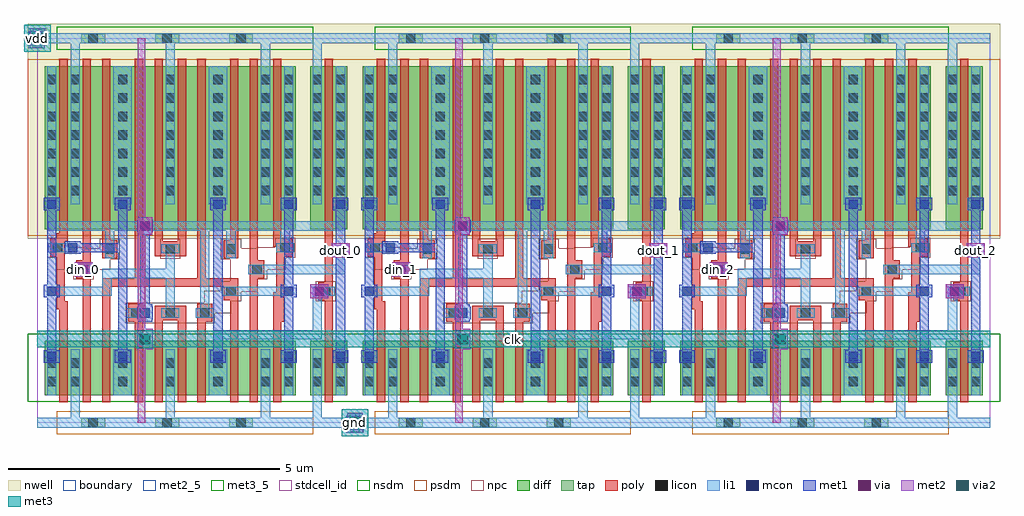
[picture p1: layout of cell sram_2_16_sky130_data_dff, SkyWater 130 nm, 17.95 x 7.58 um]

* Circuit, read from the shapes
.subckt sram_2_16_sky130_data_dff clk din_0 din_1 din_2 dout_0 dout_1 dout_2 gnd vdd
XM1 gnd n1 n2 gnd sky130_fd_pr__nfet_01v8 w=1 l=0.15
XM2 n3 din_0 gnd gnd sky130_fd_pr__nfet_01v8 w=1 l=0.15
XM3 n1 n4 n3 gnd sky130_fd_pr__nfet_01v8 w=1 l=0.15
XM4 n5 clk n1 gnd sky130_fd_pr__nfet_01v8 w=1 l=0.15
XM5 gnd n2 n5 gnd sky130_fd_pr__nfet_01v8 w=1 l=0.15
XM6 n6 n2 gnd gnd sky130_fd_pr__nfet_01v8 w=1 l=0.15
XM7 sky130_fd_bd_sram__openram_dff_0/QN clk n6 gnd sky130_fd_pr__nfet_01v8 w=1 l=0.15
XM8 n7 n4 sky130_fd_bd_sram__openram_dff_0/QN gnd sky130_fd_pr__nfet_01v8 w=1 l=0.15
XM9 gnd dout_0 n7 gnd sky130_fd_pr__nfet_01v8 w=1 l=0.15
XM10 n4 clk gnd gnd sky130_fd_pr__nfet_01v8 w=1 l=0.15
XM11 dout_0 sky130_fd_bd_sram__openram_dff_0/QN gnd gnd sky130_fd_pr__nfet_01v8 w=1 l=0.15
XM12 gnd n8 n9 gnd sky130_fd_pr__nfet_01v8 w=1 l=0.15
XM13 n10 din_1 gnd gnd sky130_fd_pr__nfet_01v8 w=1 l=0.15
XM14 n8 n11 n10 gnd sky130_fd_pr__nfet_01v8 w=1 l=0.15
XM15 n12 clk n8 gnd sky130_fd_pr__nfet_01v8 w=1 l=0.15
XM16 gnd n9 n12 gnd sky130_fd_pr__nfet_01v8 w=1 l=0.15
XM17 n13 n9 gnd gnd sky130_fd_pr__nfet_01v8 w=1 l=0.15
XM18 sky130_fd_bd_sram__openram_dff_1/QN clk n13 gnd sky130_fd_pr__nfet_01v8 w=1 l=0.15
XM19 n14 n11 sky130_fd_bd_sram__openram_dff_1/QN gnd sky130_fd_pr__nfet_01v8 w=1 l=0.15
XM20 gnd dout_1 n14 gnd sky130_fd_pr__nfet_01v8 w=1 l=0.15
XM21 n11 clk gnd gnd sky130_fd_pr__nfet_01v8 w=1 l=0.15
XM22 dout_1 sky130_fd_bd_sram__openram_dff_1/QN gnd gnd sky130_fd_pr__nfet_01v8 w=1 l=0.15
XM23 gnd n15 n16 gnd sky130_fd_pr__nfet_01v8 w=1 l=0.15
XM24 n17 din_2 gnd gnd sky130_fd_pr__nfet_01v8 w=1 l=0.15
XM25 n15 n18 n17 gnd sky130_fd_pr__nfet_01v8 w=1 l=0.15
XM26 n19 clk n15 gnd sky130_fd_pr__nfet_01v8 w=1 l=0.15
XM27 gnd n16 n19 gnd sky130_fd_pr__nfet_01v8 w=1 l=0.15
XM28 n20 n16 gnd gnd sky130_fd_pr__nfet_01v8 w=1 l=0.15
XM29 sky130_fd_bd_sram__openram_dff_2/QN clk n20 gnd sky130_fd_pr__nfet_01v8 w=1 l=0.15
XM30 n21 n18 sky130_fd_bd_sram__openram_dff_2/QN gnd sky130_fd_pr__nfet_01v8 w=1 l=0.15
XM31 gnd dout_2 n21 gnd sky130_fd_pr__nfet_01v8 w=1 l=0.15
XM32 n18 clk gnd gnd sky130_fd_pr__nfet_01v8 w=1 l=0.15
XM33 dout_2 sky130_fd_bd_sram__openram_dff_2/QN gnd gnd sky130_fd_pr__nfet_01v8 w=1 l=0.15
XM34 vdd n1 n2 vdd sky130_fd_pr__pfet_01v8 w=3 l=0.15
XM35 n22 din_0 vdd vdd sky130_fd_pr__pfet_01v8 w=3 l=0.15
XM36 n1 clk n22 vdd sky130_fd_pr__pfet_01v8 w=3 l=0.15
XM37 n23 n4 n1 vdd sky130_fd_pr__pfet_01v8 w=3 l=0.15
XM38 vdd n2 n23 vdd sky130_fd_pr__pfet_01v8 w=3 l=0.15
XM39 n24 n2 vdd vdd sky130_fd_pr__pfet_01v8 w=3 l=0.15
XM40 sky130_fd_bd_sram__openram_dff_0/QN n4 n24 vdd sky130_fd_pr__pfet_01v8 w=3 l=0.15
XM41 n25 clk sky130_fd_bd_sram__openram_dff_0/QN vdd sky130_fd_pr__pfet_01v8 w=3 l=0.15
XM42 vdd dout_0 n25 vdd sky130_fd_pr__pfet_01v8 w=3 l=0.15
XM43 n4 clk vdd vdd sky130_fd_pr__pfet_01v8 w=3 l=0.15
XM44 dout_0 sky130_fd_bd_sram__openram_dff_0/QN vdd vdd sky130_fd_pr__pfet_01v8 w=3 l=0.15
XM45 vdd n8 n9 vdd sky130_fd_pr__pfet_01v8 w=3 l=0.15
XM46 n26 din_1 vdd vdd sky130_fd_pr__pfet_01v8 w=3 l=0.15
XM47 n8 clk n26 vdd sky130_fd_pr__pfet_01v8 w=3 l=0.15
XM48 n27 n11 n8 vdd sky130_fd_pr__pfet_01v8 w=3 l=0.15
XM49 vdd n9 n27 vdd sky130_fd_pr__pfet_01v8 w=3 l=0.15
XM50 n28 n9 vdd vdd sky130_fd_pr__pfet_01v8 w=3 l=0.15
XM51 sky130_fd_bd_sram__openram_dff_1/QN n11 n28 vdd sky130_fd_pr__pfet_01v8 w=3 l=0.15
XM52 n29 clk sky130_fd_bd_sram__openram_dff_1/QN vdd sky130_fd_pr__pfet_01v8 w=3 l=0.15
XM53 vdd dout_1 n29 vdd sky130_fd_pr__pfet_01v8 w=3 l=0.15
XM54 n11 clk vdd vdd sky130_fd_pr__pfet_01v8 w=3 l=0.15
XM55 dout_1 sky130_fd_bd_sram__openram_dff_1/QN vdd vdd sky130_fd_pr__pfet_01v8 w=3 l=0.15
XM56 vdd n15 n16 vdd sky130_fd_pr__pfet_01v8 w=3 l=0.15
XM57 n30 din_2 vdd vdd sky130_fd_pr__pfet_01v8 w=3 l=0.15
XM58 n15 clk n30 vdd sky130_fd_pr__pfet_01v8 w=3 l=0.15
XM59 n31 n18 n15 vdd sky130_fd_pr__pfet_01v8 w=3 l=0.15
XM60 vdd n16 n31 vdd sky130_fd_pr__pfet_01v8 w=3 l=0.15
XM61 n32 n16 vdd vdd sky130_fd_pr__pfet_01v8 w=3 l=0.15
XM62 sky130_fd_bd_sram__openram_dff_2/QN n18 n32 vdd sky130_fd_pr__pfet_01v8 w=3 l=0.15
XM63 n33 clk sky130_fd_bd_sram__openram_dff_2/QN vdd sky130_fd_pr__pfet_01v8 w=3 l=0.15
XM64 vdd dout_2 n33 vdd sky130_fd_pr__pfet_01v8 w=3 l=0.15
XM65 n18 clk vdd vdd sky130_fd_pr__pfet_01v8 w=3 l=0.15
XM66 dout_2 sky130_fd_bd_sram__openram_dff_2/QN vdd vdd sky130_fd_pr__pfet_01v8 w=3 l=0.15
.ends

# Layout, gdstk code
import gdstk
lib = gdstk.Library(unit=1e-6, precision=1e-09)
def R(c, l, rs):  # rectangles x0, y0, x1, y1
    for r in rs: c.add(gdstk.rectangle(r[:2], r[2:], *l))
def A(c, l, x, y, w, h, nx, ny, dx, dy):  # array of equal rectangles
    R(c, l, [(x+i*dx, y+j*dy, x+i*dx+w, y+j*dy+h) for i in range(nx) for j in range(ny)])
nwell = (64, 20)
diff = (65, 20)
tap = (65, 44)
poly = (66, 20)
licon = (66, 44)
li1 = (67, 20)
mcon = (67, 44)
met1 = (68, 20)
via = (68, 44)
met2_5 = (69, 5)
met2 = (69, 20)
via2 = (69, 44)
met3_5 = (70, 5)
met3 = (70, 20)
stdcell_id = (81, 4)
nsdm = (93, 44)
psdm = (94, 20)
npc = (95, 20)
boundary = (235, 4)

sky130_fd_bd_sram__openr = lib.new_cell('sky130_fd_bd_sram__openram_dff')
R(sky130_fd_bd_sram__openr, nwell, [(-0.18,3.38,6.02,7.335)])
R(sky130_fd_bd_sram__openr, diff, [(0.14,0.51,4.75,1.51), (5.02,0.51,5.7,1.51), (0.14,3.56,4.75,6.56), (5.02,3.56,5.7,6.56)])
A(sky130_fd_bd_sram__openr, tap, 0.805, -0.085, 0.44, 0.17, 3, 2, 1.36, 7.07)
R(sky130_fd_bd_sram__openr, poly, [(0.405,0.38,0.555,2.085), (0.835,0.38,0.985,2.655), (1.195,0.38,1.345,2.505), (1.795,0.38,1.945,1.855), (2.155,0.38,2.305,1.885), (2.585,0.38,2.735,1.885), (2.945,0.38,3.095,1.855), (3.545,0.38,3.695,2.255), (3.905,0.38,4.055,2.655), (4.335,0.38,4.485,1.855), (5.285,0.38,5.435,2.255), (1.675,1.855,1.945,2.185), (2.945,1.855,3.215,2.185), (4.335,1.855,4.54,2.405), (2.155,1.885,2.735,2.155), (0.355,2.085,0.555,2.235), (0.355,2.235,0.505,3.055), (3.425,2.255,3.695,2.505), (5.165,2.255,5.435,2.585), (4.39,2.405,4.54,3.055), (1.195,2.505,3.695,2.655), (5.285,2.585,5.435,6.69), (0.715,2.655,0.985,2.985), (1.795,2.655,1.945,6.69), (2.945,2.655,3.095,6.69), (3.905,2.655,4.175,2.985), (0.835,2.985,0.985,6.69), (3.905,2.985,4.055,6.69), (1.195,3.03,1.465,3.36), (3.425,3.03,3.695,3.36), (0.235,3.055,0.505,3.335), (4.39,3.055,4.69,3.235), (2.155,3.065,2.735,3.335), (4.335,3.235,4.69,3.385), (0.235,3.335,0.555,3.385), (2.155,3.335,2.305,6.69), (2.585,3.335,2.735,6.69), (1.195,3.36,1.345,6.69), (3.545,3.36,3.695,6.69), (0.35,3.385,0.555,3.485), (4.335,3.385,4.485,6.69), (0.405,3.485,0.555,6.69)])
A(sky130_fd_bd_sram__openr, licon, 0.94, -0.085, 0.17, 0.17, 3, 2, 1.36, 7.07)
A(sky130_fd_bd_sram__openr, licon, 0.61, 0.675, 0.17, 0.17, 5, 2, 0.875, 0.34)
A(sky130_fd_bd_sram__openr, licon, 1.725, 1.935, 0.17, 0.17, 3, 1, 0.635, 0)
A(sky130_fd_bd_sram__openr, licon, 0.18, 4.185, 0.17, 0.17, 1, 7, 0, 0.34)
A(sky130_fd_bd_sram__openr, licon, 0.61, 4.185, 0.17, 0.17, 5, 7, 0.875, 0.34)
A(sky130_fd_bd_sram__openr, licon, 4.54, 4.185, 0.17, 0.17, 1, 7, 0, 0.34)
A(sky130_fd_bd_sram__openr, licon, 5.06, 4.185, 0.17, 0.17, 1, 7, 0, 0.34)
A(sky130_fd_bd_sram__openr, licon, 5.49, 4.185, 0.17, 0.17, 1, 7, 0, 0.34)
R(sky130_fd_bd_sram__openr, licon, [(0.18,0.675,0.35,0.845), (4.54,0.675,4.71,0.845), (5.06,0.675,5.23,0.845), (5.49,0.675,5.66,0.845), (0.18,1.015,0.35,1.185), (4.54,1.015,4.71,1.185), (5.06,1.015,5.23,1.185), (5.49,1.015,5.66,1.185), (3.475,2.335,3.645,2.505), (5.215,2.335,5.385,2.505), (0.765,2.735,0.935,2.905), (3.955,2.735,4.125,2.905), (1.245,3.11,1.415,3.28), (3.475,3.11,3.645,3.28), (2.36,3.115,2.53,3.285), (0.285,3.135,0.455,3.305), (4.47,3.135,4.64,3.305)])
A(sky130_fd_bd_sram__openr, li1, 0.61, 0.09, 0.17, 1.26, 3, 1, 1.75, 0)
A(sky130_fd_bd_sram__openr, li1, 0.61, 4.02, 0.17, 2.96, 3, 1, 1.75, 0)
R(sky130_fd_bd_sram__openr, li1, [(0,-0.09,5.84,0.09), (0,-0.09,5.84,0.09), (5.06,0.09,5.23,1.35), (0.18,0.51,0.35,1.35), (1.4,0.51,1.74,1.35), (3.15,0.51,3.49,1.35), (4.54,0.51,4.71,1.355), (5.49,0.51,5.66,1.355), (3.235,1.35,3.405,1.535), (3.235,1.535,5.23,1.705), (5.06,1.705,5.23,2.335), (1.64,1.935,2.065,2.105), (2.28,1.935,2.61,2.105), (2.915,1.935,3.245,2.105), (2.36,2.105,2.53,2.66), (2.995,2.105,3.165,3.535), (0.18,2.335,1.365,2.505), (3.395,2.335,4.71,2.505), (5.06,2.335,5.465,2.505), (1.195,2.505,1.365,2.66), (1.195,2.66,2.53,2.83), (0.685,2.735,1.015,2.905), (3.875,2.735,5.66,2.905), (2.36,2.83,2.53,3.115), (5.49,2.905,5.66,3.26), (1.245,3.03,1.415,3.535), (3.475,3.03,3.645,3.535), (2.28,3.115,2.61,3.285), (0.205,3.135,0.735,3.305), (4.39,3.135,4.72,3.305), (4.47,3.305,4.64,3.535), (0.205,3.535,5.66,3.705), (0.18,3.935,0.35,6.56), (1.485,3.935,1.655,4.02), (3.235,3.935,3.405,4.02), (4.54,3.935,4.71,6.56), (5.49,3.935,5.66,6.56), (1.4,4.02,1.74,6.56), (3.15,4.02,3.49,6.56), (5.06,4.02,5.23,6.98), (0,6.98,5.84,7.16), (0,6.98,5.84,7.16), (0,6.98,5.84,7.16)])
R(sky130_fd_bd_sram__openr, mcon, [(0.18,1.135,0.35,1.305), (1.485,1.135,1.655,1.305), (3.235,1.135,3.405,1.305), (4.54,1.135,4.71,1.305), (5.49,1.135,5.66,1.305), (1.895,1.935,2.065,2.105), (0.18,2.335,0.35,2.505), (4.54,2.335,4.71,2.505), (5.1,2.335,5.27,2.505), (0.765,2.735,0.935,2.905), (5.49,3.09,5.66,3.26), (0.565,3.135,0.735,3.305), (1.895,3.535,2.065,3.705), (0.18,3.935,0.35,4.105), (1.485,3.935,1.655,4.105), (3.235,3.935,3.405,4.105), (4.54,3.935,4.71,4.105), (5.49,3.935,5.66,4.105)])
R(sky130_fd_bd_sram__openr, met1, [(0.12,1.105,0.41,1.335), (1.425,1.105,1.715,1.335), (3.175,1.105,3.465,1.335), (4.48,1.105,4.77,1.335), (5.43,1.105,5.72,1.335), (0.18,1.335,0.35,2.305), (1.485,1.335,1.655,3.135), (3.235,1.335,3.405,3.905), (4.54,1.335,4.71,2.305), (5.49,1.335,5.66,3.045), (1.845,1.86,2.115,1.905), (1.835,1.905,2.125,2.135), (1.845,2.135,2.115,2.18), (1.895,2.18,2.065,3.46), (5.02,2.29,5.35,2.55), (0.12,2.305,0.41,2.535), (4.48,2.305,4.77,2.535), (0.18,2.535,0.35,3.905), (4.54,2.535,4.71,3.905), (0.685,2.69,1.015,2.95), (5.41,3.045,5.74,3.305), (0.505,3.105,0.795,3.135), (0.505,3.135,1.655,3.305), (0.505,3.305,0.795,3.335), (1.485,3.305,1.655,3.905), (5.49,3.305,5.66,3.905), (1.845,3.46,2.115,3.505), (1.835,3.505,2.125,3.735), (1.845,3.735,2.115,3.78), (0.12,3.905,0.41,4.135), (1.425,3.905,1.715,4.135), (3.175,3.905,3.465,4.135), (4.48,3.905,4.77,4.135), (5.43,3.905,5.72,4.135)])
R(sky130_fd_bd_sram__openr, via, [(5.11,2.345,5.26,2.495), (0.775,2.745,0.925,2.895), (5.5,3.1,5.65,3.25), (1.905,3.545,2.055,3.695)])
R(sky130_fd_bd_sram__openr, met2_5, [(0.685,2.69,1.015,2.95), (5.41,3.045,5.74,3.305), (1.845,3.46,2.115,3.78)])
R(sky130_fd_bd_sram__openr, met2, [(5.02,2.29,5.35,2.55), (0.685,2.69,1.015,2.95), (0.685,2.69,1.015,2.95), (0.685,2.69,1.015,2.95), (5.41,3.045,5.74,3.305), (5.41,3.045,5.74,3.305), (5.41,3.045,5.74,3.305), (1.845,3.46,2.115,3.78), (1.845,3.46,2.115,3.78), (1.845,3.46,2.115,3.78)])
R(sky130_fd_bd_sram__openr, stdcell_id, [(0,0,5.84,7.07)])
R(sky130_fd_bd_sram__openr, nsdm, [(-0.18,0.385,6.02,1.635), (0.36,6.86,5.075,7.07), (0.36,7.07,5.075,7.28)])
R(sky130_fd_bd_sram__openr, psdm, [(0.36,-0.21,5.075,0), (0.36,0,5.075,0.21), (-0.18,3.435,6.02,6.685)])
R(sky130_fd_bd_sram__openr, npc, [(1.625,1.835,3.265,2.01), (1.625,2.01,3.57,2.205), (3.07,2.205,3.57,2.235), (3.07,2.235,3.745,2.41), (5.115,2.235,5.485,2.605), (3.07,2.41,4.05,2.43), (3.375,2.43,4.05,2.605), (3.55,2.605,4.05,2.635), (0.665,2.635,1.035,2.81), (3.55,2.635,4.225,2.81), (0.36,2.81,1.34,3.01), (3.55,2.81,4.565,3.01), (0.36,3.01,1.515,3.035), (3.375,3.01,4.565,3.035), (2.26,3.015,2.63,3.385), (0.185,3.035,1.515,3.205), (3.375,3.035,4.74,3.205), (0.185,3.205,0.86,3.23), (1.145,3.205,1.515,3.38), (3.375,3.205,3.745,3.38), (4.03,3.205,4.74,3.23), (0.185,3.23,0.555,3.405), (4.37,3.23,4.74,3.405)])
R(sky130_fd_bd_sram__openr, boundary, [(0,0,5.84,7.07)])
sky130_fd_bd_sram__openr.add(gdstk.Label('QN', (5.035,2.52), layer=69, texttype=5))
sky130_fd_bd_sram__openr.add(gdstk.Label('CLK', (1.98,3.62), layer=69, texttype=5))
sky130_fd_bd_sram__openr.add(gdstk.Label('D', (0.85,2.82), layer=69, texttype=5))
sky130_fd_bd_sram__openr.add(gdstk.Label('Q', (5.575,3.175), layer=69, texttype=5))
sky130_fd_bd_sram__openr.add(gdstk.Label('VDD', (2.74,7.08), layer=67, texttype=5))
sky130_fd_bd_sram__openr.add(gdstk.Label('GND', (2.72,0), layer=67, texttype=5))
sky130_fd_bd_sram__openr.add(gdstk.Label('D', (0.85,2.82), layer=69, texttype=5))
sky130_fd_bd_sram__openr.add(gdstk.Label('Q', (5.575,3.175), layer=69, texttype=5))
sky130_fd_bd_sram__openr.add(gdstk.Label('clk', (1.98,3.62), layer=69, texttype=5))
sky130_fd_bd_sram__openr.add(gdstk.Label('vdd', (2.92,7.07), layer=67, texttype=5))
sky130_fd_bd_sram__openr.add(gdstk.Label('gnd', (2.92,0), layer=67, texttype=5))

sram_2_16_sky130_contact = lib.new_cell('sram_2_16_sky130_contact_13')
R(sram_2_16_sky130_contact, li1, [(0.06,0,0.23,0.33)])
R(sram_2_16_sky130_contact, mcon, [(0.06,0.08,0.23,0.25)])
R(sram_2_16_sky130_contact, met1, [(0,0.05,0.29,0.28)])
R(sram_2_16_sky130_contact, stdcell_id, [(0,0,0.29,0.33)])
R(sram_2_16_sky130_contact, boundary, [(0,0,0.29,0.33)])

c_sram_2_16_sky130_contact = lib.new_cell('sram_2_16_sky130_contact_7')
R(c_sram_2_16_sky130_contact, met1, [(0,0.03,0.32,0.29)])
R(c_sram_2_16_sky130_contact, via, [(0.085,0.085,0.235,0.235)])
R(c_sram_2_16_sky130_contact, met2, [(0.03,0,0.29,0.32)])
R(c_sram_2_16_sky130_contact, stdcell_id, [(0,0,0.32,0.32)])
R(c_sram_2_16_sky130_contact, boundary, [(0,0,0.32,0.32)])

c_sram_2_16_sky130_contact_ = lib.new_cell('sram_2_16_sky130_contact_8')
R(c_sram_2_16_sky130_contact_, met2, [(0.025,0,0.305,0.37)])
R(c_sram_2_16_sky130_contact_, via2, [(0.065,0.085,0.265,0.285)])
R(c_sram_2_16_sky130_contact_, met3, [(0,0.02,0.33,0.35)])
R(c_sram_2_16_sky130_contact_, stdcell_id, [(0,0,0.33,0.37)])
R(c_sram_2_16_sky130_contact_, boundary, [(0,0,0.33,0.37)])

sram_2_16_sky130_data_df = lib.new_cell('sram_2_16_sky130_data_dff')
R(sram_2_16_sky130_data_df, met1, [(5.68,-0.13,6,0.13), (-0.16,6.94,0.16,7.2)])
A(sram_2_16_sky130_data_df, met2_5, 0.685, 2.69, 0.33, 0.26, 3, 1, 5.84, 0)
A(sram_2_16_sky130_data_df, met2_5, 5.41, 3.045, 0.33, 0.26, 3, 1, 5.84, 0)
A(sram_2_16_sky130_data_df, met2, 1.845, 0, 0.14, 7.07, 3, 1, 5.84, 0)
A(sram_2_16_sky130_data_df, met2, 1.84, 1.42, 0.28, 0.24, 3, 1, 5.84, 0)
A(sram_2_16_sky130_data_df, met2, 0.685, 2.69, 0.33, 0.26, 3, 1, 5.84, 0)
A(sram_2_16_sky130_data_df, met2, 5.41, 3.045, 0.33, 0.26, 3, 1, 5.84, 0)
R(sram_2_16_sky130_data_df, met2, [(5.7,-0.12,5.98,0.12), (-0.14,6.95,0.14,7.19)])
R(sram_2_16_sky130_data_df, met3_5, [(5.595,-0.245,6.085,0.245), (0,1.39,17.52,1.69), (-0.245,6.825,0.245,7.315)])
R(sram_2_16_sky130_data_df, met3, [(5.595,-0.245,6.085,0.245), (0,1.39,17.52,1.69), (-0.245,6.825,0.245,7.315)])
R(sram_2_16_sky130_data_df, stdcell_id, [(0,0,17.52,7.07)])
R(sram_2_16_sky130_data_df, boundary, [(0,0,17.52,7.07)])
sram_2_16_sky130_data_df.add(gdstk.Reference(sky130_fd_bd_sram__openr, (0,0)))
sram_2_16_sky130_data_df.add(gdstk.Reference(sky130_fd_bd_sram__openr, (5.84,0)))
sram_2_16_sky130_data_df.add(gdstk.Reference(sky130_fd_bd_sram__openr, (11.68,0)))
sram_2_16_sky130_data_df.add(gdstk.Reference(sram_2_16_sky130_contact, (-0.145,6.905)))
sram_2_16_sky130_data_df.add(gdstk.Reference(c_sram_2_16_sky130_contact, (-0.16,6.91)))
sram_2_16_sky130_data_df.add(gdstk.Reference(c_sram_2_16_sky130_contact_, (-0.165,6.885)))
sram_2_16_sky130_data_df.add(gdstk.Reference(sram_2_16_sky130_contact, (5.695,-0.165)))
sram_2_16_sky130_data_df.add(gdstk.Reference(c_sram_2_16_sky130_contact, (5.68,-0.16)))
sram_2_16_sky130_data_df.add(gdstk.Reference(c_sram_2_16_sky130_contact_, (5.675,-0.185)))
sram_2_16_sky130_data_df.add(gdstk.Reference(c_sram_2_16_sky130_contact_, (1.815,1.355)))
sram_2_16_sky130_data_df.add(gdstk.Reference(c_sram_2_16_sky130_contact_, (7.655,1.355)))
sram_2_16_sky130_data_df.add(gdstk.Reference(c_sram_2_16_sky130_contact_, (13.495,1.355)))
sram_2_16_sky130_data_df.add(gdstk.Label('vdd', (0,7.07), layer=70, texttype=5))
sram_2_16_sky130_data_df.add(gdstk.Label('gnd', (5.84,0), layer=70, texttype=5))
sram_2_16_sky130_data_df.add(gdstk.Label('din_0', (0.85,2.82), layer=69, texttype=5))
sram_2_16_sky130_data_df.add(gdstk.Label('dout_0', (5.575,3.175), layer=69, texttype=5))
sram_2_16_sky130_data_df.add(gdstk.Label('din_1', (6.69,2.82), layer=69, texttype=5))
sram_2_16_sky130_data_df.add(gdstk.Label('dout_1', (11.415,3.175), layer=69, texttype=5))
sram_2_16_sky130_data_df.add(gdstk.Label('din_2', (12.53,2.82), layer=69, texttype=5))
sram_2_16_sky130_data_df.add(gdstk.Label('dout_2', (17.255,3.175), layer=69, texttype=5))
sram_2_16_sky130_data_df.add(gdstk.Label('clk', (8.76,1.54), layer=70, texttype=5))

lib.write_gds('sram_2_16_sky130_data_dff.gds')
